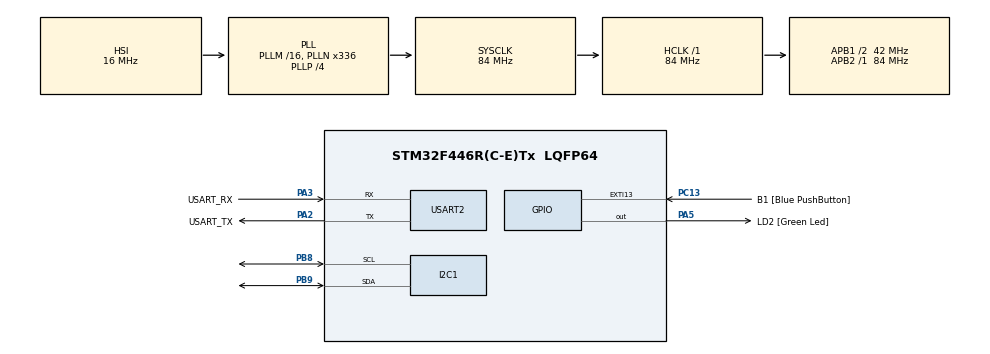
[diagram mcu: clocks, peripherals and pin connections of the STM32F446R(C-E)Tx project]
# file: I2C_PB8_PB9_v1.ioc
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Mcu.Family=STM32F4
Mcu.Name=STM32F446R(C-E)Tx
Mcu.Package=LQFP64
NVIC.PriorityGroup=NVIC_PRIORITYGROUP_0
PA13.GPIO_Label=TMS
PA13.Mode=Serial_Wire
PA13.Signal=SYS_JTMS-SWDIO
PA14.GPIO_Label=TCK
PA14.Mode=Serial_Wire
PA14.Signal=SYS_JTCK-SWCLK
PA2.GPIO_Label=USART_TX
PA2.Mode=Asynchronous
PA2.Signal=USART2_TX
PA3.GPIO_Label=USART_RX
PA3.Mode=Asynchronous
PA3.Signal=USART2_RX
PA5.GPIO_Label=LD2 [Green Led]
PA5.Signal=GPIO_Output
PB3.GPIO_Label=SWO
PB3.Signal=SYS_JTDO-SWO
PB8.Mode=I2C
PB8.Signal=I2C1_SCL
PB9.Mode=I2C
PB9.Signal=I2C1_SDA
PC13.GPIO_Label=B1 [Blue PushButton]
PC13.GPIO_ModeDefaultEXTI=GPIO_MODE_IT_FALLING
PC13.Signal=GPXTI13
PC14-OSC32_IN.Mode=LSE-External-Oscillator
PC14-OSC32_IN.Signal=RCC_OSC32_IN
PC15-OSC32_OUT.Mode=LSE-External-Oscillator
PC15-OSC32_OUT.Signal=RCC_OSC32_OUT
PH0-OSC_IN.Mode=HSE-External-Oscillator
PH0-OSC_IN.Signal=RCC_OSC_IN
PH1-OSC_OUT.Mode=HSE-External-Oscillator
PH1-OSC_OUT.Signal=RCC_OSC_OUT
ProjectManager.HeapSize=0x200
ProjectManager.StackSize=0x400
ProjectManager.TargetToolchain=MDK-ARM V5.32
RCC.48MHZClocksFreq_Value=84000000
RCC.AHBFreq_Value=84000000
RCC.APB1CLKDivider=RCC_HCLK_DIV2
RCC.APB1Freq_Value=42000000
RCC.APB1TimFreq_Value=84000000
RCC.APB2Freq_Value=84000000
RCC.APB2TimFreq_Value=84000000
RCC.CortexFreq_Value=84000000
RCC.FLatency-AdvancedSettings=FLASH_LATENCY_2
RCC.HCLKFreq_Value=84000000
RCC.HSE_VALUE=8000000
RCC.HSI_VALUE=16000000
RCC.PLLN=336
RCC.PLLP=RCC_PLLP_DIV4
RCC.SYSCLKFreq_VALUE=84000000
RCC.SYSCLKSource=RCC_SYSCLKSOURCE_PLLCLK
RCC.USBFreq_Value=168000000
RCC.VCOOutputFreq_Value=336000000
USART2.VirtualMode=VM_ASYNC
board=NUCLEO-F446RE

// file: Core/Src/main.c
/* USER CODE BEGIN Header */
/**
  ******************************************************************************
  * @file           : main.c
  * @brief          : Main program body
  ******************************************************************************
  * @attention
  *
  * Copyright (c) 2023 STMicroelectronics.
  * All rights reserved.
  *
  * This software is licensed under terms that can be found in the LICENSE file
  * in the root directory of this software component.
  * If no LICENSE file comes with this software, it is provided AS-IS.
  *
  ******************************************************************************
  */
/* USER CODE END Header */
#include "main.h"

/* USER CODE BEGIN Includes */
#include "string.h"
#include "bme280.h"
#include "stdlib.h"
#include "stdio.h"
#include "HAL_i2c_rw_functions_BME280.h"
/* USER CODE END Includes */

I2C_HandleTypeDef hi2c1;

UART_HandleTypeDef huart2;

/* USER CODE BEGIN PV */
// bit shift by 1 since I2C address is only 7 bits long.
#define BME280_ADDR 	(0x76 << 1)

char line1[16];
char line2[16];

float temperature;
float humidity;
float pressure;

struct bme280_dev bme280_device;
struct bme280_settings settings;
struct bme280_data compensated_data;
int8_t result;
/* USER CODE END PV */

void SystemClock_Config(void);
static void MX_GPIO_Init(void);
static void MX_I2C1_Init(void);
static void MX_USART2_UART_Init(void);

int main(void)
{
  /* USER CODE BEGIN 1 */
	// USART buffer
	uint8_t buf[12];
  /* USER CODE END 1 */

  /* MCU Configuration--------------------------------------------------------*/

  /* Reset of all peripherals, Initializes the Flash interface and the Systick. */
  HAL_Init();

  /* Configure the system clock */
  SystemClock_Config();

  /* Initialize all configured peripherals */
  MX_GPIO_Init();
  MX_I2C1_Init();
  MX_USART2_UART_Init();
  /* USER CODE BEGIN 2 */

// START HERE: Fix these functions to link to HAL_i2c_rw_functions_BME280.h (I wrote those files)
	bme280_device.chip_id = BME280_I2C_ADDR_PRIM;
	bme280_device.intf = BME280_I2C_INTF;
	bme280_device.read = user_i2c_read;
	bme280_device.write = user_i2c_write;
	bme280_device.delay_us = user_delay_us;
//
//	result = bme280_init(&bme280_device);
//	uint8_t test = result;

//	while (1) {
//	//START HERE. Need to follow the remainder of the microcontrollers lab bme280 blue pill tutorial.
//		uint8_t id = 0xD0;
//		uint8_t test_data = 'a';
//		uint8_t *returned_data = &test_data;
////	HAL_I2C_Master_Transmit(&hi2c1, (BME280_ADDR), &id, 1, 10);
////  HAL_I2C_Master_Receive(&hi2c1, (BME280_ADDR) | 0x01, returned_data, 1, 10);
//		HAL_I2C_Mem_Read(&hi2c1, (BME280_ADDR), 0xD0, I2C_MEMADD_SIZE_8BIT, returned_data, 1, HAL_MAX_DELAY);
//		memcpy(buf, returned_data, 1);
//		HAL_UART_Transmit(&huart2, buf, strlen((char*)buf), HAL_MAX_DELAY);
//		HAL_Delay(500);

//  settings.osr_h = BME280_OVERSAMPLING_1X;
//  settings.osr_p = BME280_OVERSAMPLING_16X;
//  settings.osr_t = BME280_OVERSAMPLING_2X;
//  settings.filter = BME280_FILTER_COEFF_16;
//	//Debugger shows that result of bme280_set_sensor_settings is 0xFE aka 'fail'
//  result = bme280_set_sensor_settings(UINT8_C(0b00011111), &settings, &bme280_device);
//uint8_t test2 = result;

  /* USER CODE END 2 */

  /* Infinite loop */
  while (1)
  {

  }
}

void SystemClock_Config(void)
{
  RCC_OscInitTypeDef RCC_OscInitStruct = {0};
  RCC_ClkInitTypeDef RCC_ClkInitStruct = {0};

  /** Configure the main internal regulator output voltage
  */
  __HAL_RCC_PWR_CLK_ENABLE();
  __HAL_PWR_VOLTAGESCALING_CONFIG(PWR_REGULATOR_VOLTAGE_SCALE3);

  /** Initializes the RCC Oscillators according to the specified parameters
  * in the RCC_OscInitTypeDef structure.
  */
  RCC_OscInitStruct.OscillatorType = RCC_OSCILLATORTYPE_HSI;
  RCC_OscInitStruct.HSIState = RCC_HSI_ON;
  RCC_OscInitStruct.HSICalibrationValue = RCC_HSICALIBRATION_DEFAULT;
  RCC_OscInitStruct.PLL.PLLState = RCC_PLL_ON;
  RCC_OscInitStruct.PLL.PLLSource = RCC_PLLSOURCE_HSI;
  RCC_OscInitStruct.PLL.PLLM = 16;
  RCC_OscInitStruct.PLL.PLLN = 336;
  RCC_OscInitStruct.PLL.PLLP = RCC_PLLP_DIV4;
  RCC_OscInitStruct.PLL.PLLQ = 2;
  RCC_OscInitStruct.PLL.PLLR = 2;
  if (HAL_RCC_OscConfig(&RCC_OscInitStruct) != HAL_OK)
  {
    Error_Handler();
  }

  /** Initializes the CPU, AHB and APB buses clocks
  */
  RCC_ClkInitStruct.ClockType = RCC_CLOCKTYPE_HCLK|RCC_CLOCKTYPE_SYSCLK
                              |RCC_CLOCKTYPE_PCLK1|RCC_CLOCKTYPE_PCLK2;
  RCC_ClkInitStruct.SYSCLKSource = RCC_SYSCLKSOURCE_PLLCLK;
  RCC_ClkInitStruct.AHBCLKDivider = RCC_SYSCLK_DIV1;
  RCC_ClkInitStruct.APB1CLKDivider = RCC_HCLK_DIV2;
  RCC_ClkInitStruct.APB2CLKDivider = RCC_HCLK_DIV1;

  if (HAL_RCC_ClockConfig(&RCC_ClkInitStruct, FLASH_LATENCY_2) != HAL_OK)
  {
    Error_Handler();
  }
}

static void MX_I2C1_Init(void)
{

  hi2c1.Instance = I2C1;
  hi2c1.Init.ClockSpeed = 100000;
  hi2c1.Init.DutyCycle = I2C_DUTYCYCLE_2;
  hi2c1.Init.OwnAddress1 = 0;
  hi2c1.Init.AddressingMode = I2C_ADDRESSINGMODE_7BIT;
  hi2c1.Init.DualAddressMode = I2C_DUALADDRESS_DISABLE;
  hi2c1.Init.OwnAddress2 = 0;
  hi2c1.Init.GeneralCallMode = I2C_GENERALCALL_DISABLE;
  hi2c1.Init.NoStretchMode = I2C_NOSTRETCH_DISABLE;
  if (HAL_I2C_Init(&hi2c1) != HAL_OK)
  {
    Error_Handler();
  }

}

static void MX_USART2_UART_Init(void)
{

  huart2.Instance = USART2;
  huart2.Init.BaudRate = 115200;
  huart2.Init.WordLength = UART_WORDLENGTH_8B;
  huart2.Init.StopBits = UART_STOPBITS_1;
  huart2.Init.Parity = UART_PARITY_NONE;
  huart2.Init.Mode = UART_MODE_TX_RX;
  huart2.Init.HwFlowCtl = UART_HWCONTROL_NONE;
  huart2.Init.OverSampling = UART_OVERSAMPLING_16;
  if (HAL_UART_Init(&huart2) != HAL_OK)
  {
    Error_Handler();
  }

}

static void MX_GPIO_Init(void)
{
  GPIO_InitTypeDef GPIO_InitStruct = {0};

  /* GPIO Ports Clock Enable */
  __HAL_RCC_GPIOC_CLK_ENABLE();
  __HAL_RCC_GPIOH_CLK_ENABLE();
  __HAL_RCC_GPIOA_CLK_ENABLE();
  __HAL_RCC_GPIOB_CLK_ENABLE();

  /*Configure GPIO pin Output Level */
  HAL_GPIO_WritePin(LD2_GPIO_Port, LD2_Pin, GPIO_PIN_RESET);

  /*Configure GPIO pin : B1_Pin */
  GPIO_InitStruct.Pin = B1_Pin;
  GPIO_InitStruct.Mode = GPIO_MODE_IT_FALLING;
  GPIO_InitStruct.Pull = GPIO_NOPULL;
  HAL_GPIO_Init(B1_GPIO_Port, &GPIO_InitStruct);

  /*Configure GPIO pin : LD2_Pin */
  GPIO_InitStruct.Pin = LD2_Pin;
  GPIO_InitStruct.Mode = GPIO_MODE_OUTPUT_PP;
  GPIO_InitStruct.Pull = GPIO_NOPULL;
  GPIO_InitStruct.Speed = GPIO_SPEED_FREQ_LOW;
  HAL_GPIO_Init(LD2_GPIO_Port, &GPIO_InitStruct);

}

void Error_Handler(void)
{
  __disable_irq();
  while (1)
  {
  }
}
